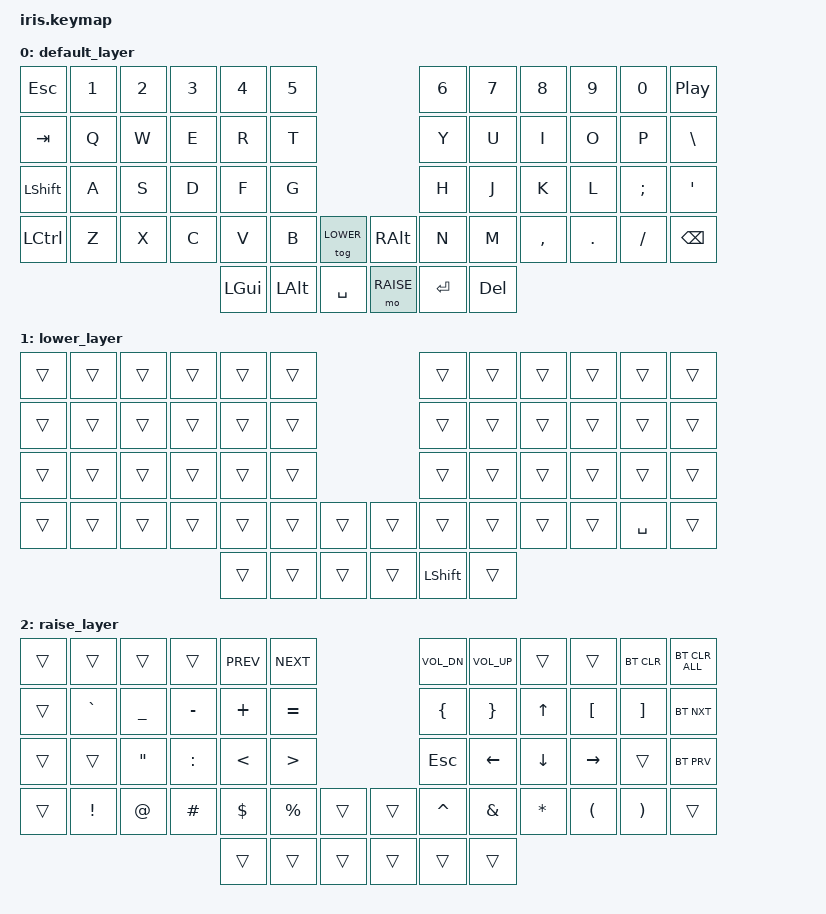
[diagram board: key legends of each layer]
/*
 * Copyright (c) 2020 The ZMK Contributors
 *
 * SPDX-License-Identifier: MIT
 */

#include <behaviors.dtsi>
#include <dt-bindings/zmk/keys.h>
#include <dt-bindings/zmk/bt.h>

#define DEFAULT 0
#define LOWER   1
#define RAISE   2

/ {
    keymap {
        compatible = "zmk,keymap";

        default_layer {
// ------------------------------------------------------------------------------------------------------------
// |  ESC  |  1  |  2  |  3   |  4   |  5   |                   |  6   |  7    |  8    |  9   |   0   | PLAY  |
// |  TAB  |  Q  |  W  |  E   |  R   |  T   |                   |  Y   |  U    |  I    |  O   |   P   |  \|   |
// | SHIFT |  A  |  S  |  D   |  F   |  G   |                   |  H   |  J    |  K    |  L   |  ;:   |  '"   |
// | CTRL  |  Z  |  X  |  C   |  V   |  B   |   TG2  |  |  RALT |  N   |  M    |  ,<   | .>   |  /?   | BACKS |
//                            | WIN  | LALT |  SPACE |  | RAISE | ENTER|  DEL  |
            bindings = <
&kp ESC   &kp N1 &kp N2 &kp N3 &kp N4   &kp N5                        &kp N6  &kp N7 &kp N8    &kp N9  &kp N0   &kp C_PP
&kp TAB   &kp Q  &kp W  &kp E  &kp R    &kp T                         &kp Y   &kp U  &kp I     &kp O   &kp P    &kp BSLH
&kp LSHFT &kp A  &kp S  &kp D  &kp F    &kp G                         &kp H   &kp J  &kp K     &kp L   &kp SEMI &kp SQT
&kp LCTRL &kp Z  &kp X  &kp C  &kp V    &kp B    &tog LOWER &kp RALT  &kp N   &kp M  &kp COMMA &kp DOT &kp FSLH &kp BSPC
                               &kp LGUI &kp LALT &kp SPACE  &mo RAISE &kp RET &kp DEL
            >;
        };

        lower_layer {
// ------------------------------------------------------------------------------------------------------------
// |       |     |     |      |      |      |                   |      |       |       |      |       |       |
// |       |     |     |      |      |      |                   |      |       |       |      |       |       |
// |       |     |     |      |      |      |                   |      |       |       |      |       |       |
// |       |     |     |      |      |      |        |  |       |      |       |       |      | SPACE |       |
//                            |      |      |        |  |       |SHIFT |       |
            bindings = <
&trans &trans &trans &trans &trans &trans                      &trans &trans &trans &trans &trans    &trans
&trans &trans &trans &trans &trans &trans                      &trans &trans &trans &trans &trans    &trans
&trans &trans &trans &trans &trans &trans                      &trans &trans &trans &trans &trans    &trans
&trans &trans &trans &trans &trans &trans    &trans   &trans   &trans &trans &trans &trans &kp SPACE &trans
                            &trans &trans    &trans   &trans   &kp LSHFT &trans
            >;
        };

        raise_layer {
// ------------------------------------------------------------------------------------------------------------
// |       |     |     |      | PREV | NEXT |                   | VOLD | VOLU  |       |      | BTCLR |BTCLRAL|
// |       |  `  |  _  |  -   |  +   |  =   |                   |  {   |   }   |   ^   |  [   |   ]   |BTNXT  |
// |       |     |  "  |  :   |  <   |  >   |                   |  ESC |   <-  |   v   |  ->  |  ->   |BTPRV  |
// |       |  !  |  @  |  #   |  $   |  %   |        |  |       |  ˆ   |   &   |   *   |  (   |   )   |       |
//                            |      |      |        |  |       |      |       |
            bindings = <
&trans &trans    &trans    &trans    &kp C_PREV &kp C_NEXT                 &kp K_VOL_DN &kp K_VOL_UP &trans    &trans    &bt BT_CLR &bt BT_CLR_ALL
&trans &kp GRAVE &kp UNDER &kp MINUS &kp PLUS   &kp EQUAL                  &kp LBRC     &kp RBRC     &kp UP    &kp LBKT  &kp RBKT   &bt BT_NXT 
&trans &trans    &kp DQT   &kp COLON &kp LT     &kp GT                     &kp ESC      &kp LEFT     &kp DOWN  &kp RIGHT &trans     &bt BT_PRV
&trans &kp EXCL  &kp AT    &kp HASH  &kp DLLR   &kp PRCNT  &trans   &trans &kp CARET    &kp AMPS     &kp STAR  &kp LPAR  &kp RPAR   &trans
                                     &trans     &trans     &trans   &trans &trans       &trans
            >;
        };
    };
};
